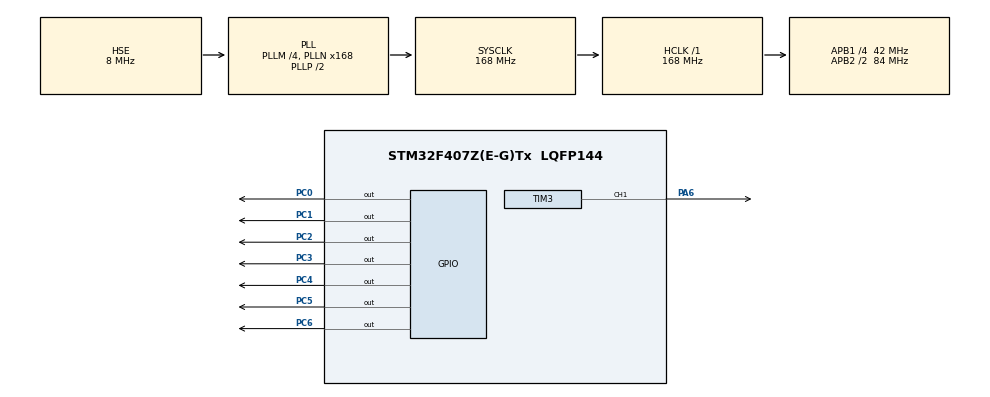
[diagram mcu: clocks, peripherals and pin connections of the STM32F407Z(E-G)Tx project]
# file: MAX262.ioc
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Mcu.Family=STM32F4
Mcu.Name=STM32F407Z(E-G)Tx
Mcu.Package=LQFP144
NVIC.PriorityGroup=NVIC_PRIORITYGROUP_4
PA13.Mode=Serial_Wire
PA13.Signal=SYS_JTMS-SWDIO
PA14.Mode=Serial_Wire
PA14.Signal=SYS_JTCK-SWCLK
PA6.Signal=S_TIM3_CH1
PC0.GPIO_Speed=GPIO_SPEED_FREQ_VERY_HIGH
PC0.Signal=GPIO_Output
PC1.GPIO_Speed=GPIO_SPEED_FREQ_VERY_HIGH
PC1.Signal=GPIO_Output
PC2.GPIO_Speed=GPIO_SPEED_FREQ_VERY_HIGH
PC2.Signal=GPIO_Output
PC3.GPIO_Speed=GPIO_SPEED_FREQ_VERY_HIGH
PC3.Signal=GPIO_Output
PC4.GPIO_Speed=GPIO_SPEED_FREQ_VERY_HIGH
PC4.Signal=GPIO_Output
PC5.GPIO_Speed=GPIO_SPEED_FREQ_VERY_HIGH
PC5.Signal=GPIO_Output
PC6.GPIO_Speed=GPIO_SPEED_FREQ_VERY_HIGH
PC6.Signal=GPIO_Output
PH0-OSC_IN.Mode=HSE-External-Oscillator
PH0-OSC_IN.Signal=RCC_OSC_IN
PH1-OSC_OUT.Mode=HSE-External-Oscillator
PH1-OSC_OUT.Signal=RCC_OSC_OUT
ProjectManager.HeapSize=0x200
ProjectManager.StackSize=0x400
ProjectManager.TargetToolchain=MDK-ARM V5.32
RCC.48MHZClocksFreq_Value=84000000
RCC.AHBFreq_Value=168000000
RCC.APB1CLKDivider=RCC_HCLK_DIV4
RCC.APB1Freq_Value=42000000
RCC.APB1TimFreq_Value=84000000
RCC.APB2CLKDivider=RCC_HCLK_DIV2
RCC.APB2Freq_Value=84000000
RCC.APB2TimFreq_Value=168000000
RCC.CortexFreq_Value=168000000
RCC.HCLKFreq_Value=168000000
RCC.HSE_VALUE=8000000
RCC.HSI_VALUE=16000000
RCC.LSE_VALUE=32768
RCC.PLLM=4
RCC.PLLN=168
RCC.PLLSourceVirtual=RCC_PLLSOURCE_HSE
RCC.SYSCLKFreq_VALUE=168000000
RCC.SYSCLKSource=RCC_SYSCLKSOURCE_PLLCLK
RCC.VCOOutputFreq_Value=336000000
SH.S_TIM3_CH1.0=TIM3_CH1,PWM Generation1 CH1
TIM3.Channel-PWM\ Generation1\ CH1=TIM_CHANNEL_1
TIM3.Period=999
TIM3.Prescaler=84-1
TIM3.Pulse-PWM\ Generation1\ CH1=500
VP_TIM3_VS_ClockSourceINT.Mode=Internal
board=custom

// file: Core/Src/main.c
/* USER CODE BEGIN Header */
/**
  ******************************************************************************
  * @file           : main.c
  * @brief          : Main program body
  ******************************************************************************
  * @attention
  *
  * Copyright (c) 2024 STMicroelectronics.
  * All rights reserved.
  *
  * This software is licensed under terms that can be found in the LICENSE file
  * in the root directory of this software component.
  * If no LICENSE file comes with this software, it is provided AS-IS.
  *
  ******************************************************************************
  */
/* USER CODE END Header */
#include "main.h"
#include "tim.h"
#include "gpio.h"

/* USER CODE BEGIN Includes */
#include "max262.h"
/* USER CODE END Includes */

void SystemClock_Config(void);

/* USER CODE BEGIN 0 */
void PWM_Set(uint32_t f0) {
    uint32_t arr_t;

    if (f0 < 10000) {
        __HAL_TIM_SET_PRESCALER(&htim3, 840 - 1); // 预分频器设置为840（84000000 / 100000）
        arr_t = 100000 / f0; // 计算自动重装值
    } else {
        __HAL_TIM_SET_PRESCALER(&htim3, 0); // 不分频
        arr_t = 84000000 / f0; // 计算自动重装值
    }
    arr_t--;

    __HAL_TIM_SET_AUTORELOAD(&htim3, arr_t);
    __HAL_TIM_SET_COMPARE(&htim3, TIM_CHANNEL_1, arr_t / 2); // 占空比设置为50%

    HAL_TIM_PWM_Start(&htim3, TIM_CHANNEL_1); // 启动PWM
}

/* USER CODE END 0 */

int main(void)
{

  /* MCU Configuration--------------------------------------------------------*/

  /* Reset of all peripherals, Initializes the Flash interface and the Systick. */
  HAL_Init();

  /* Configure the system clock */
  SystemClock_Config();

  /* Initialize all configured peripherals */
  MX_GPIO_Init();
  MX_TIM3_Init();
  /* USER CODE BEGIN 2 */
	uint32_t fclk;
	//MY_NVIC_PriorityGroup_Config(NVIC_PriorityGroup_2);	//设置中断分组
	HAL_Delay(500);//延时一会儿，等待上电稳定,确保max262比控制板先上电。
	HAL_TIM_PWM_Init(&htim3);
	HAL_TIM_PWM_Start(&htim3,TIM_CHANNEL_1);

//	模式 1：可实现低通、带通、带阻滤波器
//	模式 2：可实现低通、带通、带阻滤波器
//	模式 3：可以实现低通，带通，高通滤波器
//	模式 4：可实现低通，带通，全通滤波器

	//fclk = lhp_WorkFclk(1000, 0.703,MODE_3, CH_A);//设置通道A截止频率1K，q= 0.703；返回应设置的时钟频率
	fclk = lhp_WorkFclk(1000, 0.703,MODE_3, CH_B);//设置通道B截止频率1K，q= 0.703；返回应设置的时钟频率
//	PWM_Set(fclk);//设置pwm，输出时钟频率
	//切换MAX262模块上的跳线帽位置即可设置为高通或低通；

	//由于MAX262分辨率及单片机定时器时钟信号无法十分精确，故滤波器频率会有一定误差。
  /* USER CODE END 2 */

  /* Infinite loop */
  while (1)
  {

    /* USER CODE BEGIN 3 */
		__HAL_TIM_SetCompare(&htim3,TIM_CHANNEL_1,500);
  }
  /* USER CODE END 3 */
}

void SystemClock_Config(void)
{
  RCC_OscInitTypeDef RCC_OscInitStruct = {0};
  RCC_ClkInitTypeDef RCC_ClkInitStruct = {0};

  /** Configure the main internal regulator output voltage
  */
  __HAL_RCC_PWR_CLK_ENABLE();
  __HAL_PWR_VOLTAGESCALING_CONFIG(PWR_REGULATOR_VOLTAGE_SCALE1);

  /** Initializes the RCC Oscillators according to the specified parameters
  * in the RCC_OscInitTypeDef structure.
  */
  RCC_OscInitStruct.OscillatorType = RCC_OSCILLATORTYPE_HSE;
  RCC_OscInitStruct.HSEState = RCC_HSE_ON;
  RCC_OscInitStruct.PLL.PLLState = RCC_PLL_ON;
  RCC_OscInitStruct.PLL.PLLSource = RCC_PLLSOURCE_HSE;
  RCC_OscInitStruct.PLL.PLLM = 4;
  RCC_OscInitStruct.PLL.PLLN = 168;
  RCC_OscInitStruct.PLL.PLLP = RCC_PLLP_DIV2;
  RCC_OscInitStruct.PLL.PLLQ = 4;
  if (HAL_RCC_OscConfig(&RCC_OscInitStruct) != HAL_OK)
  {
    Error_Handler();
  }

  /** Initializes the CPU, AHB and APB buses clocks
  */
  RCC_ClkInitStruct.ClockType = RCC_CLOCKTYPE_HCLK|RCC_CLOCKTYPE_SYSCLK
                              |RCC_CLOCKTYPE_PCLK1|RCC_CLOCKTYPE_PCLK2;
  RCC_ClkInitStruct.SYSCLKSource = RCC_SYSCLKSOURCE_PLLCLK;
  RCC_ClkInitStruct.AHBCLKDivider = RCC_SYSCLK_DIV1;
  RCC_ClkInitStruct.APB1CLKDivider = RCC_HCLK_DIV4;
  RCC_ClkInitStruct.APB2CLKDivider = RCC_HCLK_DIV2;

  if (HAL_RCC_ClockConfig(&RCC_ClkInitStruct, FLASH_LATENCY_5) != HAL_OK)
  {
    Error_Handler();
  }
}

void Error_Handler(void)
{
  __disable_irq();
  while (1)
  {
  }
}
